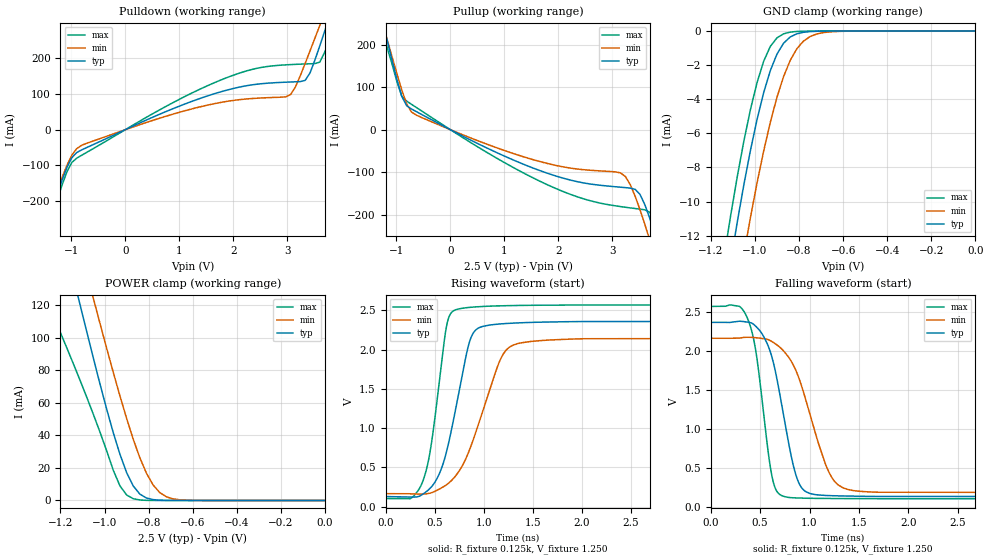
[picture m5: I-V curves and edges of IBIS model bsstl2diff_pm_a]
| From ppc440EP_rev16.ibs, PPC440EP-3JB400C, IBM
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| [File]   bsstl2diff_pm_a.ibs
| [File Rev]   1.4
| [Date]   Sat Aug 17 06:24:13 EDT 2002
| [Source]   File originated at IMD in Burlington, VT USA
[Model]   bsstl2diff_pm_a
Model_type   I/O
Vinl  = 0.97V
Vinh  = 1.53V
Vref  = 1.25V
Rref  = 0.125k
Cref  = 10pF
Vmeas = 1.250V
| Values for delay from A to PAD (Tdo) are determined using
| Vref, Cref, Rref, and Vmeas.
|   INPUT TRANSITION ON DRIVER INPUT = 0.1ns
|   typ   min   max
| Tdo (rise)   0.98n   0.70n   1.36n
| Tdo (fall)   0.93n   0.70n   1.25n
|   INPUT TRANSITION ON DRIVER INPUT = 1.0ns
|   typ   min   max
| Tdo (rise)   1.11n   0.79n   1.53n
| Tdo (fall)   1.02n   0.78n   1.33n
|   typ   min   max
C_comp   1.53pF   1.49pF  1.58pF
[Temperature Range]   50.00   125.00   0.00
[Voltage Range]   2.500   2.300   2.700
|   typ   min   max
|[Supply]   VDD   1.5   1.4   1.6
|[Supply]   VDD250   2.50   2.30   2.70
[Add Submodel]
| Submodel Name   Mode
Up.bsstl2diff_pm_a   Non-Driving
Dn.bsstl2diff_pm_a   Non-Driving
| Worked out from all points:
|   slope of the pulldown table from 0 to 0.375 V, typ, clamps not added: 14.4 ohm
|   slope of the pullup table from 0 to 0.375 V, typ, clamps not added: 15.4 ohm
|   GND clamp passes 1 mA (typ) near -0.88 V on its own axis
|   POWER clamp passes 1 mA (typ) near -0.79 V on its own axis
|   rising waveform, R_fixture 0.125k, V_fixture 1.250: 20-80 % time 226ps typ, 335ps min, 156ps max; typ from 0.127 V to 2.37 V
|   falling waveform, R_fixture 0.125k, V_fixture 1.250: 20-80 % time 208ps typ, 300ps min, 148ps max; typ from 2.37 V to 0.127 V
[Pullup]   | Note: Vtable = Vcc - Vout
| Voltage   I(typ)   I(min)   I(max)
-2.7V     979.9mA    876mA      821.5mA
-1.35V    302.2mA    291.2mA    265mA
-1.17V    209.2mA    211.1mA    192.2mA
-900mV    78.04mA    93.16mA    78.36mA
-720mV    48.58mA    41.42mA    59.55mA
1.71V     -98.44mA   -76.53mA   -124.2mA
3.15V     -135mA     -101.4mA   -180.5mA
3.51V     -152mA     -188.1mA   -186.5mA
3.69V     -207.9mA   -259.1mA   -193.9mA
3.78V     -243.2mA   -296.9mA   -213.5mA
3.87V     -280.7mA   -336.1mA   -244.2mA
5.4V      -1.039A    -1.088A    -992.2mA
[Pulldown]   | Note: Vtable = Vout
| Voltage   I(typ)   I(min)   I(max)
-2.7V     -925.8mA   -880.8mA   -974.3mA
-1.53V    -312.1mA   -295mA     -335.2mA
-1.44V    -267.3mA   -252.7mA   -288.1mA
-1.08V    -105.8mA   -99.89mA   -118mA
-810mV    -56.8mA    -43.91mA   -71.89mA
1.62V     99.5mA     72.09mA    129.9mA
3.06V     133.8mA    98.54mA    182.6mA
3.33V     138.3mA    185.8mA    184.3mA
3.6V      234.8mA    291.9mA    189.5mA
3.69V     275.4mA    327.4mA    216.6mA
3.96V     397.1mA    436.5mA    311.7mA
5.4V      1.068A     1.027A     825.1mA
[POWER_Clamp]   | Note: Vtable = Vcc - Vout
| Voltage   I(typ)   I(min)   I(max)
-2.7V     1.002A     990.3mA    664.5mA
-1.26V    203.2mA    233.9mA    122.1mA
-1.11V    119.7mA    154.9mA    73.47mA
-1.05V    87.06mA    123.7mA    52.65mA
-960mV    41.43mA    78.47mA    18.42mA
-930mV    28.27mA    64.11mA    8.902mA
-900mV    17.15mA    50.4mA     3.407mA
-840mV    3.917mA    26.23mA    318uA
-780mV    538uA      9.556mA    25uA
-750mV    186uA      4.886mA    7uA
-630mV    3uA        179uA      0A
0V        0A         0A         0A
[GND_Clamp]   | Note: Vtable = Vout
| Voltage   I(typ)   I(min)   I(max)
-2.7V     -179.2mA   -181.9mA   -177.7mA
-1.14V    -16.04mA   -20.33mA   -13.28mA
-1.11V    -13.57mA   -17.83mA   -10.84mA
-1.08V    -11.22mA   -15.42mA   -8.558mA
-1.05V    -9.022mA   -13.11mA   -6.464mA
-1.02V    -6.999mA   -10.93mA   -4.602mA
-960mV    -3.61mA    -7.033mA   -1.771mA
-930mV    -2.324mA   -5.356mA   -905uA
-870mV    -719uA     -2.679mA   -164uA
-780mV    -74uA      -596uA     -10uA
-630mV    -1uA       -27uA      0A
0V        0A         0A         0A
[Ramp]
| variable   typ   min   max
  dV/dt_r   1.34/0.23n   1.20/0.34n   1.48/0.16n
  dV/dt_f   1.34/0.21n   1.20/0.30n   1.48/0.15n
R_load = 0.125k
[Rising Waveform]
R_fixture = 0.125k
V_fixture = 1.250
V_fixture_min = 1.250
V_fixture_max = 1.250
|   time   V(typ)   V(min)   V(max)
0s        127mV      164mV      102mV
350ps     135mV      159mV      241mV
440ps     216mV      167mV      603mV
520ps     347mV      205mV      1.301V
640ps     795mV      296mV      2.394V
840ps     2.027V     673mV      2.537V
940ps     2.27V      1.021V     2.547V
1.21ns    2.331V     1.962V     2.56V
1.66ns    2.352V     2.122V     2.567V
19.9ns    2.365V     2.161V     2.57V
[Falling Waveform]
R_fixture = 0.125k
V_fixture = 1.250
V_fixture_min = 1.250
V_fixture_max = 1.250
|   time   V(typ)   V(min)   V(max)
0s        2.365V     2.161V     2.57V
290ps     2.38V      2.163V     2.571V
370ps     2.369V     2.174V     2.423V
460ps     2.31V      2.167V     1.968V
630ps     1.87V      2.11V      332mV
810ps     679mV      1.876V     115mV
930ps     227mV      1.507V     109mV
1.21ns    141mV      410mV      105mV
1.54ns    133mV      194mV      103mV
19.9ns    127mV      164mV      102mV
